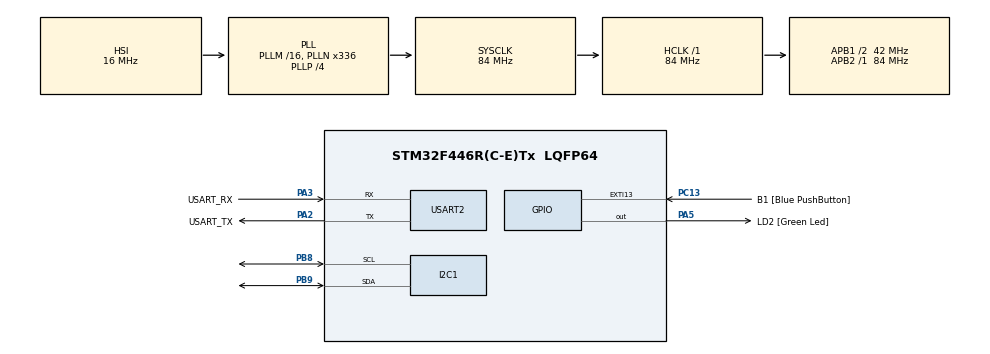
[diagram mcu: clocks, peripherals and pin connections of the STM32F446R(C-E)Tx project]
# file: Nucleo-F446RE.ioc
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Mcu.Family=STM32F4
Mcu.Name=STM32F446R(C-E)Tx
Mcu.Package=LQFP64
NVIC.PriorityGroup=NVIC_PRIORITYGROUP_0
PA13.GPIO_Label=TMS
PA13.Mode=Serial_Wire
PA13.Signal=SYS_JTMS-SWDIO
PA14.GPIO_Label=TCK
PA14.Mode=Serial_Wire
PA14.Signal=SYS_JTCK-SWCLK
PA2.GPIO_Label=USART_TX
PA2.Mode=Asynchronous
PA2.Signal=USART2_TX
PA3.GPIO_Label=USART_RX
PA3.Mode=Asynchronous
PA3.Signal=USART2_RX
PA5.GPIO_Label=LD2 [Green Led]
PA5.Signal=GPIO_Output
PB3.GPIO_Label=SWO
PB3.Signal=SYS_JTDO-SWO
PB8.Mode=I2C
PB8.Signal=I2C1_SCL
PB9.Mode=I2C
PB9.Signal=I2C1_SDA
PC13.GPIO_Label=B1 [Blue PushButton]
PC13.GPIO_ModeDefaultEXTI=GPIO_MODE_IT_FALLING
PC13.Signal=GPXTI13
PC14-OSC32_IN.Mode=LSE-External-Oscillator
PC14-OSC32_IN.Signal=RCC_OSC32_IN
PC15-OSC32_OUT.Mode=LSE-External-Oscillator
PC15-OSC32_OUT.Signal=RCC_OSC32_OUT
PH0-OSC_IN.Mode=HSE-External-Oscillator
PH0-OSC_IN.Signal=RCC_OSC_IN
PH1-OSC_OUT.Mode=HSE-External-Oscillator
PH1-OSC_OUT.Signal=RCC_OSC_OUT
ProjectManager.HeapSize=0x200
ProjectManager.StackSize=0x400
ProjectManager.TargetToolchain=STM32CubeIDE
RCC.48MHZClocksFreq_Value=84000000
RCC.AHBFreq_Value=84000000
RCC.APB1CLKDivider=RCC_HCLK_DIV2
RCC.APB1Freq_Value=42000000
RCC.APB1TimFreq_Value=84000000
RCC.APB2Freq_Value=84000000
RCC.APB2TimFreq_Value=84000000
RCC.CortexFreq_Value=84000000
RCC.FLatency-AdvancedSettings=FLASH_LATENCY_2
RCC.HCLKFreq_Value=84000000
RCC.HSE_VALUE=8000000
RCC.HSI_VALUE=16000000
RCC.PLLN=336
RCC.PLLP=RCC_PLLP_DIV4
RCC.SYSCLKFreq_VALUE=84000000
RCC.SYSCLKSource=RCC_SYSCLKSOURCE_PLLCLK
RCC.USBFreq_Value=168000000
RCC.VCOOutputFreq_Value=336000000
USART2.VirtualMode=VM_ASYNC
board=NUCLEO-F446RE

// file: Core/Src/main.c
/* USER CODE BEGIN Header */
/**
  ******************************************************************************
  * @file           : main.c
  * @brief          : Main program body
  ******************************************************************************
  * @attention
  *
  * Copyright (c) 2022 STMicroelectronics.
  * All rights reserved.
  *
  * This software is licensed under terms that can be found in the LICENSE file
  * in the root directory of this software component.
  * If no LICENSE file comes with this software, it is provided AS-IS.
  *
  ******************************************************************************
  */
/* USER CODE END Header */
#include "main.h"
#include "string.h"

I2C_HandleTypeDef hi2c1;

UART_HandleTypeDef huart2;

/* USER CODE BEGIN PV */
uint8_t obcAddress = 87;
uint8_t ttcAddress = 90;
uint8_t epsAddress = 93;
uint8_t adsbAddress = 95;
uint8_t loraAddress = 97;
/* USER CODE END PV */

void SystemClock_Config(void);
static void MX_GPIO_Init(void);
static void MX_USART2_UART_Init(void);
static void MX_I2C1_Init(void);

/* USER CODE BEGIN 0 */
char strReceived[128] = "";
//uint8_t sendBuffer[10] = {1,2,3,4,5,6,7,8,9,10};
uint8_t sendBuffer[1] = {90};
uint8_t receivedBuffer[10]= {0};
uint8_t lenReceivedBuffer = sizeof(receivedBuffer);

void send_uart(char *string){
	uint8_t len = strlen(string);
	HAL_UART_Transmit(&huart2, (uint8_t*)string, len, 2000);
}

void convert_string(){
	for(int i = 0; i<lenReceivedBuffer; i++){
		sprintf(&strReceived[i], "%d", receivedBuffer[i]);
	}
	send_uart(strReceived);
}
/* USER CODE END 0 */

int main(void)
{

  /* MCU Configuration--------------------------------------------------------*/

  /* Reset of all peripherals, Initializes the Flash interface and the Systick. */
  HAL_Init();

  /* Configure the system clock */
  SystemClock_Config();

  /* Initialize all configured peripherals */
  MX_GPIO_Init();
  MX_USART2_UART_Init();
  MX_I2C1_Init();
  /* USER CODE BEGIN 2 */
//  send_uart("Receiving Data via I2C...\r\n");
        if(HAL_I2C_Slave_Transmit(&hi2c1, sendBuffer, 1, HAL_MAX_DELAY) == HAL_OK){
      	  send_uart("Data send successfully!!\r\n");
        }else{
      	  send_uart("Data send Failed!!\r\n");
        }
//
//        send_uart("Data : '");
//        convert_string();
//        send_uart("'");
//        send_uart("\r\n");
        send_uart("------------------\r\n\n");
  /* USER CODE END 2 */

  /* Infinite loop */
  while (1)
  {

  }
}

void SystemClock_Config(void)
{
  RCC_OscInitTypeDef RCC_OscInitStruct = {0};
  RCC_ClkInitTypeDef RCC_ClkInitStruct = {0};

  /** Configure the main internal regulator output voltage
  */
  __HAL_RCC_PWR_CLK_ENABLE();
  __HAL_PWR_VOLTAGESCALING_CONFIG(PWR_REGULATOR_VOLTAGE_SCALE3);

  /** Initializes the RCC Oscillators according to the specified parameters
  * in the RCC_OscInitTypeDef structure.
  */
  RCC_OscInitStruct.OscillatorType = RCC_OSCILLATORTYPE_HSI;
  RCC_OscInitStruct.HSIState = RCC_HSI_ON;
  RCC_OscInitStruct.HSICalibrationValue = RCC_HSICALIBRATION_DEFAULT;
  RCC_OscInitStruct.PLL.PLLState = RCC_PLL_ON;
  RCC_OscInitStruct.PLL.PLLSource = RCC_PLLSOURCE_HSI;
  RCC_OscInitStruct.PLL.PLLM = 16;
  RCC_OscInitStruct.PLL.PLLN = 336;
  RCC_OscInitStruct.PLL.PLLP = RCC_PLLP_DIV4;
  RCC_OscInitStruct.PLL.PLLQ = 2;
  RCC_OscInitStruct.PLL.PLLR = 2;
  if (HAL_RCC_OscConfig(&RCC_OscInitStruct) != HAL_OK)
  {
    Error_Handler();
  }

  /** Initializes the CPU, AHB and APB buses clocks
  */
  RCC_ClkInitStruct.ClockType = RCC_CLOCKTYPE_HCLK|RCC_CLOCKTYPE_SYSCLK
                              |RCC_CLOCKTYPE_PCLK1|RCC_CLOCKTYPE_PCLK2;
  RCC_ClkInitStruct.SYSCLKSource = RCC_SYSCLKSOURCE_PLLCLK;
  RCC_ClkInitStruct.AHBCLKDivider = RCC_SYSCLK_DIV1;
  RCC_ClkInitStruct.APB1CLKDivider = RCC_HCLK_DIV2;
  RCC_ClkInitStruct.APB2CLKDivider = RCC_HCLK_DIV1;

  if (HAL_RCC_ClockConfig(&RCC_ClkInitStruct, FLASH_LATENCY_2) != HAL_OK)
  {
    Error_Handler();
  }
}

static void MX_I2C1_Init(void)
{

  hi2c1.Instance = I2C1;
  hi2c1.Init.ClockSpeed = 100000;
  hi2c1.Init.DutyCycle = I2C_DUTYCYCLE_2;
  hi2c1.Init.OwnAddress1 = 90;
  hi2c1.Init.AddressingMode = I2C_ADDRESSINGMODE_7BIT;
  hi2c1.Init.DualAddressMode = I2C_DUALADDRESS_DISABLE;
  hi2c1.Init.OwnAddress2 = 0;
  hi2c1.Init.GeneralCallMode = I2C_GENERALCALL_DISABLE;
  hi2c1.Init.NoStretchMode = I2C_NOSTRETCH_DISABLE;
  if (HAL_I2C_Init(&hi2c1) != HAL_OK)
  {
    Error_Handler();
  }

}

static void MX_USART2_UART_Init(void)
{

  huart2.Instance = USART2;
  huart2.Init.BaudRate = 115200;
  huart2.Init.WordLength = UART_WORDLENGTH_8B;
  huart2.Init.StopBits = UART_STOPBITS_1;
  huart2.Init.Parity = UART_PARITY_NONE;
  huart2.Init.Mode = UART_MODE_TX_RX;
  huart2.Init.HwFlowCtl = UART_HWCONTROL_NONE;
  huart2.Init.OverSampling = UART_OVERSAMPLING_16;
  if (HAL_UART_Init(&huart2) != HAL_OK)
  {
    Error_Handler();
  }

}

static void MX_GPIO_Init(void)
{
  GPIO_InitTypeDef GPIO_InitStruct = {0};

  /* GPIO Ports Clock Enable */
  __HAL_RCC_GPIOC_CLK_ENABLE();
  __HAL_RCC_GPIOH_CLK_ENABLE();
  __HAL_RCC_GPIOA_CLK_ENABLE();
  __HAL_RCC_GPIOB_CLK_ENABLE();

  /*Configure GPIO pin Output Level */
  HAL_GPIO_WritePin(LD2_GPIO_Port, LD2_Pin, GPIO_PIN_RESET);

  /*Configure GPIO pin : B1_Pin */
  GPIO_InitStruct.Pin = B1_Pin;
  GPIO_InitStruct.Mode = GPIO_MODE_IT_FALLING;
  GPIO_InitStruct.Pull = GPIO_NOPULL;
  HAL_GPIO_Init(B1_GPIO_Port, &GPIO_InitStruct);

  /*Configure GPIO pin : LD2_Pin */
  GPIO_InitStruct.Pin = LD2_Pin;
  GPIO_InitStruct.Mode = GPIO_MODE_OUTPUT_PP;
  GPIO_InitStruct.Pull = GPIO_NOPULL;
  GPIO_InitStruct.Speed = GPIO_SPEED_FREQ_LOW;
  HAL_GPIO_Init(LD2_GPIO_Port, &GPIO_InitStruct);

}

void Error_Handler(void)
{
  __disable_irq();
  while (1)
  {
  }
}
